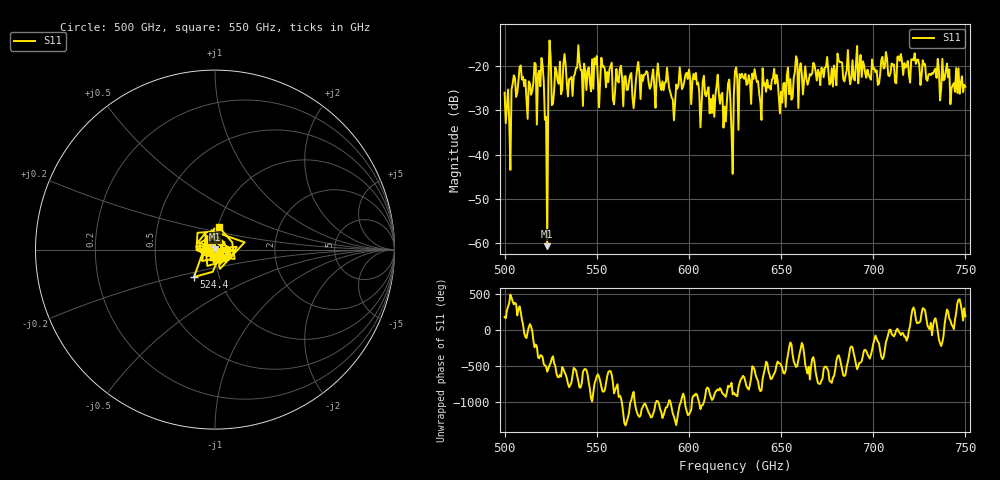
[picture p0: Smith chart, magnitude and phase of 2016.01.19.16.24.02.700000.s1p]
!Created with skrf (http://scikit-rf.org).
# GHz S RI R 50.0
!freq ReS11 ImS11
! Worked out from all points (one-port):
!   401 points, 500 GHz to 750 GHz, reference 50 ohm
!   lowest |S11| = -60.6 dB at 523.1 GHz (marker M1), VSWR 1.00, Z = 49.9 + j0.0575 ohm
!   |S11| at or under -10 dB: start of sweep to end of sweep
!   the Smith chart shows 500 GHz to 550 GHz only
!   S11 on the Smith chart (normalised r, x): 500 GHz: 0.91, +0.00; 524.4 GHz: 0.76, -0.24; 550 GHz: 1.01, +0.26
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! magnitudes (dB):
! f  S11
! 500 GHz  -26.1
! 501.9 GHz  -25.4
! 505 GHz  -22.2
! 508.8 GHz  -20.0
! 513.1 GHz  -23.5
! 519.4 GHz  -24.6
! 521.2 GHz  -23.6
! 521.9 GHz  -32.2
! 523.1 GHz  -60.6
! 524.4 GHz  -14.3
! 525 GHz  -18.1
! 531.2 GHz  -25.4
! 550 GHz  -17.8
! 562.5 GHz  -20.9
! 588.1 GHz  -20.5
! 591.2 GHz  -27.6
! 593.8 GHz  -25.2
! 603.8 GHz  -21.6
! 612.5 GHz  -30.6
! 616.2 GHz  -26.4
! 623.1 GHz  -34.9
! 625 GHz  -21.3
! 628.8 GHz  -21.8
! 638.1 GHz  -26.2
! 656.2 GHz  -27.2
! 687.5 GHz  -24.2
! 718.8 GHz  -18.9
! 750 GHz  -24.7
